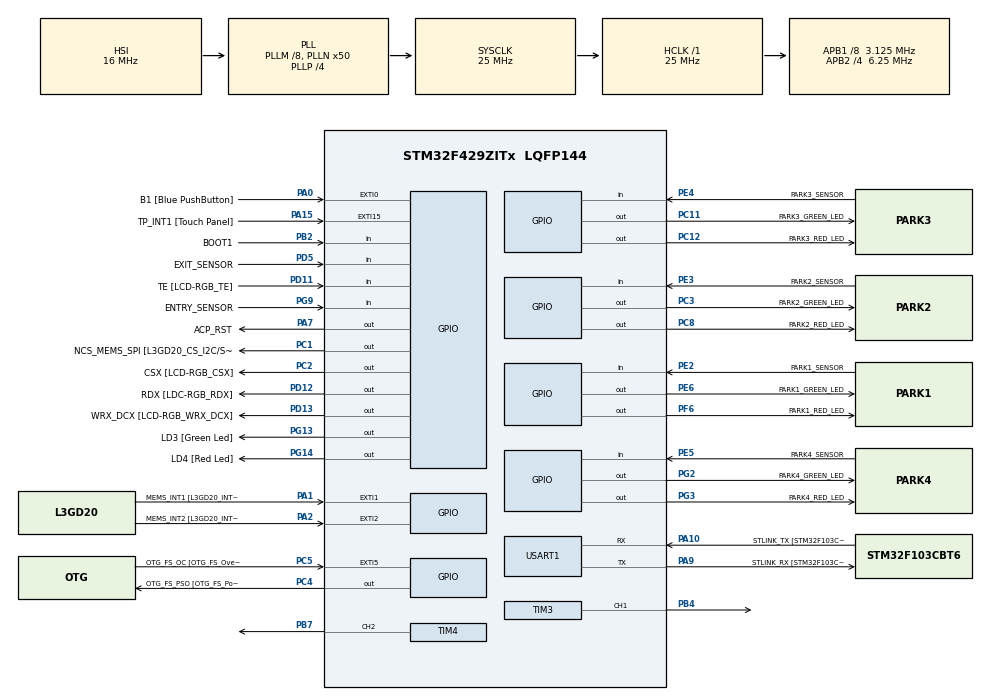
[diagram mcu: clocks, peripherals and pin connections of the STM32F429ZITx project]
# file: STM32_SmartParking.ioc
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Mcu.Family=STM32F4
Mcu.Name=STM32F429ZITx
Mcu.Package=LQFP144
NVIC.PriorityGroup=NVIC_PRIORITYGROUP_0
NVIC.USART1_IRQn=true\:5\:0\:false\:false\:true\:true\:true\:false
PA0/WKUP.GPIO_Label=B1 [Blue PushButton]
PA0/WKUP.GPIO_ModeDefaultEXTI=GPIO_MODE_EVT_RISING
PA0/WKUP.GPIO_PuPd=GPIO_NOPULL
PA0/WKUP.Signal=GPXTI0
PA1.GPIO_Label=MEMS_INT1 [L3GD20_INT1]
PA1.GPIO_ModeDefaultEXTI=GPIO_MODE_EVT_RISING
PA1.GPIO_PuPd=GPIO_NOPULL
PA1.Signal=GPXTI1
PA10.GPIO_Label=STLINK_TX [STM32F103CBT6_PA2]
PA10.Mode=Asynchronous
PA10.Signal=USART1_RX
PA11.GPIO_Label=R4
PA11.GPIO_Mode=GPIO_MODE_AF_PP
PA11.GPIO_PuPd=GPIO_NOPULL
PA11.GPIO_Speed=GPIO_SPEED_FREQ_LOW
PA11.Signal=LTDC_R4
PA12.GPIO_Label=R5
PA12.GPIO_Mode=GPIO_MODE_AF_PP
PA12.GPIO_PuPd=GPIO_NOPULL
PA12.GPIO_Speed=GPIO_SPEED_FREQ_LOW
PA12.Signal=LTDC_R5
PA13.GPIO_Label=SWDIO
PA13.Mode=Serial_Wire
PA13.Signal=SYS_JTMS-SWDIO
PA14.GPIO_Label=SWCLK
PA14.Mode=Serial_Wire
PA14.Signal=SYS_JTCK-SWCLK
PA15.GPIO_Label=TP_INT1 [Touch Panel]
PA15.GPIO_ModeDefaultEXTI=GPIO_MODE_EVT_RISING
PA15.GPIO_PuPd=GPIO_NOPULL
PA15.Signal=GPXTI15
PA2.GPIO_Label=MEMS_INT2 [L3GD20_INT2]
PA2.GPIO_ModeDefaultEXTI=GPIO_MODE_EVT_RISING
PA2.GPIO_PuPd=GPIO_NOPULL
PA2.Signal=GPXTI2
PA3.GPIO_Label=B5
PA3.GPIO_Mode=GPIO_MODE_AF_PP
PA3.GPIO_PuPd=GPIO_NOPULL
PA3.GPIO_Speed=GPIO_SPEED_FREQ_LOW
PA3.Signal=LTDC_B5
PA4.GPIO_Label=VSYNC
PA4.GPIO_Mode=GPIO_MODE_AF_PP
PA4.GPIO_PuPd=GPIO_NOPULL
PA4.GPIO_Speed=GPIO_SPEED_FREQ_LOW
PA4.Signal=LTDC_VSYNC
PA6.GPIO_Label=G2
PA6.GPIO_Mode=GPIO_MODE_AF_PP
PA6.GPIO_PuPd=GPIO_NOPULL
PA6.GPIO_Speed=GPIO_SPEED_FREQ_LOW
PA6.Signal=LTDC_G2
PA7.GPIO_Label=ACP_RST
PA7.GPIO_Mode=GPIO_MODE_OUTPUT_PP
PA7.GPIO_PuPd=GPIO_NOPULL
PA7.GPIO_Speed=GPIO_SPEED_FREQ_LOW
PA7.Signal=GPIO_Output
PA8.GPIO_Label=I2C3_SCL [ACP/RF_SCL]
PA8.GPIO_Mode=GPIO_MODE_AF_OD
PA8.GPIO_PuPd=GPIO_NOPULL
PA8.GPIO_Speed=GPIO_SPEED_FREQ_LOW
PA8.Signal=I2C3_SCL
PA9.GPIO_Label=STLINK_RX [STM32F103CBT6_PA3]
PA9.Mode=Asynchronous
PA9.Signal=USART1_TX
PA9.Stacked=true
PB0.GPIO_Label=R3
PB0.GPIO_Mode=GPIO_MODE_AF_PP
PB0.GPIO_PuPd=GPIO_NOPULL
PB0.GPIO_Speed=GPIO_SPEED_FREQ_LOW
PB0.Signal=LTDC_R3
PB1.GPIO_Label=R6
PB1.GPIO_Mode=GPIO_MODE_AF_PP
PB1.GPIO_PuPd=GPIO_NOPULL
PB1.GPIO_Speed=GPIO_SPEED_FREQ_LOW
PB1.Signal=LTDC_R6
PB10.GPIO_Label=G4
PB10.GPIO_Mode=GPIO_MODE_AF_PP
PB10.GPIO_PuPd=GPIO_NOPULL
PB10.GPIO_Speed=GPIO_SPEED_FREQ_LOW
PB10.Signal=LTDC_G4
PB11.GPIO_Label=G5
PB11.GPIO_Mode=GPIO_MODE_AF_PP
PB11.GPIO_PuPd=GPIO_NOPULL
PB11.GPIO_Speed=GPIO_SPEED_FREQ_LOW
PB11.Signal=LTDC_G5
PB12.GPIO_Label=OTG_HS_ID
PB12.GPIO_Mode=GPIO_MODE_AF_PP
PB12.GPIO_PuPd=GPIO_NOPULL
PB12.GPIO_Speed=GPIO_SPEED_FREQ_LOW
PB12.Signal=USB_OTG_HS_ID
PB13.GPIO_Label=VBUS_HS
PB13.GPIO_Mode=GPIO_MODE_INPUT
PB13.GPIO_PuPd=GPIO_NOPULL
PB13.Signal=USB_OTG_HS_VBUS
PB14.GPIO_Label=OTG_HS_DM
PB14.GPIO_Mode=GPIO_MODE_AF_PP
PB14.GPIO_PuPd=GPIO_NOPULL
PB14.GPIO_Speed=GPIO_SPEED_FREQ_LOW
PB14.Signal=USB_OTG_HS_DM
PB15.GPIO_Label=OTG_HS_DP
PB15.GPIO_Mode=GPIO_MODE_AF_PP
PB15.GPIO_PuPd=GPIO_NOPULL
PB15.GPIO_Speed=GPIO_SPEED_FREQ_LOW
PB15.Signal=USB_OTG_HS_DP
PB2/BOOT1.GPIO_Label=BOOT1
PB2/BOOT1.GPIO_Mode=GPIO_MODE_INPUT
PB2/BOOT1.GPIO_PuPd=GPIO_NOPULL
PB2/BOOT1.Signal=GPIO_Input
PB4.Signal=S_TIM3_CH1
PB5.GPIO_Label=SDCKE1
PB5.GPIO_Mode=GPIO_MODE_AF_PP
PB5.GPIO_PuPd=GPIO_NOPULL
PB5.GPIO_Speed=GPIO_SPEED_FREQ_VERY_HIGH
PB5.Signal=FMC_SDCKE1
PB6.GPIO_Label=SDNE1 [SDRAM_CS]
PB6.GPIO_Mode=GPIO_MODE_AF_PP
PB6.GPIO_PuPd=GPIO_NOPULL
PB6.GPIO_Speed=GPIO_SPEED_FREQ_VERY_HIGH
PB6.Signal=FMC_SDNE1
PB7.Signal=S_TIM4_CH2
PB8.GPIO_Label=B6
PB8.GPIO_Mode=GPIO_MODE_AF_PP
PB8.GPIO_PuPd=GPIO_NOPULL
PB8.GPIO_Speed=GPIO_SPEED_FREQ_LOW
PB8.Signal=LTDC_B6
PB9.GPIO_Label=B7
PB9.GPIO_Mode=GPIO_MODE_AF_PP
PB9.GPIO_PuPd=GPIO_NOPULL
PB9.GPIO_Speed=GPIO_SPEED_FREQ_LOW
PB9.Signal=LTDC_B7
PC0.GPIO_Label=SDNWE
PC0.GPIO_Mode=GPIO_MODE_AF_PP
PC0.GPIO_PuPd=GPIO_NOPULL
PC0.GPIO_Speed=GPIO_SPEED_FREQ_VERY_HIGH
PC0.Signal=FMC_SDNWE
PC1.GPIO_Label=NCS_MEMS_SPI [L3GD20_CS_I2C/SPI]
PC1.GPIO_Mode=GPIO_MODE_OUTPUT_PP
PC1.GPIO_PuPd=GPIO_NOPULL
PC1.GPIO_Speed=GPIO_SPEED_FREQ_LOW
PC1.Signal=GPIO_Output
PC10.GPIO_Label=R2
PC10.GPIO_Mode=GPIO_MODE_AF_PP
PC10.GPIO_PuPd=GPIO_NOPULL
PC10.GPIO_Speed=GPIO_SPEED_FREQ_LOW
PC10.Signal=LTDC_R2
PC11.GPIO_Label=PARK3_GREEN_LED
PC11.Signal=GPIO_Output
PC12.GPIO_Label=PARK3_RED_LED
PC12.Signal=GPIO_Output
PC14/OSC32_IN.GPIO_Label=PC14-OSC32_IN
PC14/OSC32_IN.Signal=RCC_OSC32_IN
PC15/OSC32_OUT.GPIO_Label=PC15-OSC32_OUT
PC15/OSC32_OUT.Signal=RCC_OSC32_OUT
PC2.GPIO_Label=CSX [LCD-RGB_CSX]
PC2.GPIO_Mode=GPIO_MODE_OUTPUT_PP
PC2.GPIO_PuPd=GPIO_NOPULL
PC2.GPIO_Speed=GPIO_SPEED_FREQ_LOW
PC2.Signal=GPIO_Output
PC3.GPIO_Label=PARK2_GREEN_LED
PC3.Signal=GPIO_Output
PC4.GPIO_Label=OTG_FS_PSO [OTG_FS_PowerSwitchOn]
PC4.GPIO_Mode=GPIO_MODE_OUTPUT_PP
PC4.GPIO_PuPd=GPIO_NOPULL
PC4.GPIO_Speed=GPIO_SPEED_FREQ_LOW
PC4.Signal=GPIO_Output
PC5.GPIO_Label=OTG_FS_OC [OTG_FS_OverCurrent]
PC5.GPIO_ModeDefaultEXTI=GPIO_MODE_EVT_RISING
PC5.Signal=GPXTI5
PC6.GPIO_Label=HSYNC
PC6.GPIO_Mode=GPIO_MODE_AF_PP
PC6.GPIO_PuPd=GPIO_NOPULL
PC6.GPIO_Speed=GPIO_SPEED_FREQ_LOW
PC6.Signal=LTDC_HSYNC
PC7.GPIO_Label=G6
PC7.GPIO_Mode=GPIO_MODE_AF_PP
PC7.GPIO_PuPd=GPIO_NOPULL
PC7.GPIO_Speed=GPIO_SPEED_FREQ_LOW
PC7.Signal=LTDC_G6
PC8.GPIO_Label=PARK2_RED_LED
PC8.Signal=GPIO_Output
PC9.GPIO_Label=I2C3_SDA [ACP/RF_SDA]
PC9.GPIO_Mode=GPIO_MODE_AF_OD
PC9.GPIO_PuPd=GPIO_NOPULL
PC9.GPIO_Speed=GPIO_SPEED_FREQ_LOW
PC9.Signal=I2C3_SDA
PD0.GPIO_Label=D2
PD0.GPIO_Mode=GPIO_MODE_AF_PP
PD0.GPIO_PuPd=GPIO_NOPULL
PD0.GPIO_Speed=GPIO_SPEED_FREQ_VERY_HIGH
PD0.Signal=FMC_D2_DA2
PD1.GPIO_Label=D3
PD1.GPIO_Mode=GPIO_MODE_AF_PP
PD1.GPIO_PuPd=GPIO_NOPULL
PD1.GPIO_Speed=GPIO_SPEED_FREQ_VERY_HIGH
PD1.Signal=FMC_D3_DA3
PD10.GPIO_Label=D15
PD10.GPIO_Mode=GPIO_MODE_AF_PP
PD10.GPIO_PuPd=GPIO_NOPULL
PD10.GPIO_Speed=GPIO_SPEED_FREQ_VERY_HIGH
PD10.Signal=FMC_D15_DA15
PD11.GPIO_Label=TE [LCD-RGB_TE]
PD11.GPIO_Mode=GPIO_MODE_INPUT
PD11.GPIO_PuPd=GPIO_NOPULL
PD11.Signal=GPIO_Input
PD12.GPIO_Label=RDX [LDC-RGB_RDX]
PD12.GPIO_Mode=GPIO_MODE_OUTPUT_PP
PD12.GPIO_PuPd=GPIO_NOPULL
PD12.GPIO_Speed=GPIO_SPEED_FREQ_LOW
PD12.Signal=GPIO_Output
PD13.GPIO_Label=WRX_DCX [LCD-RGB_WRX_DCX]
PD13.GPIO_Mode=GPIO_MODE_OUTPUT_PP
PD13.GPIO_PuPd=GPIO_NOPULL
PD13.GPIO_Speed=GPIO_SPEED_FREQ_LOW
PD13.Signal=GPIO_Output
PD14.GPIO_Label=D0
PD14.GPIO_Mode=GPIO_MODE_AF_PP
PD14.GPIO_PuPd=GPIO_NOPULL
PD14.GPIO_Speed=GPIO_SPEED_FREQ_VERY_HIGH
PD14.Signal=FMC_D0_DA0
PD15.GPIO_Label=D1
PD15.GPIO_Mode=GPIO_MODE_AF_PP
PD15.GPIO_PuPd=GPIO_NOPULL
PD15.GPIO_Speed=GPIO_SPEED_FREQ_VERY_HIGH
PD15.Signal=FMC_D1_DA1
PD3.GPIO_Label=G7
PD3.GPIO_Mode=GPIO_MODE_AF_PP
PD3.GPIO_PuPd=GPIO_NOPULL
PD3.GPIO_Speed=GPIO_SPEED_FREQ_LOW
PD3.Signal=LTDC_G7
PD5.GPIO_Label=EXIT_SENSOR
PD5.Signal=GPIO_Input
PD6.GPIO_Label=B2
PD6.GPIO_Mode=GPIO_MODE_AF_PP
PD6.GPIO_PuPd=GPIO_NOPULL
PD6.GPIO_Speed=GPIO_SPEED_FREQ_LOW
PD6.Signal=LTDC_B2
PD8.GPIO_Label=D13
PD8.GPIO_Mode=GPIO_MODE_AF_PP
PD8.GPIO_PuPd=GPIO_NOPULL
PD8.GPIO_Speed=GPIO_SPEED_FREQ_VERY_HIGH
PD8.Signal=FMC_D13_DA13
PD9.GPIO_Label=D14
PD9.GPIO_Mode=GPIO_MODE_AF_PP
PD9.GPIO_PuPd=GPIO_NOPULL
PD9.GPIO_Speed=GPIO_SPEED_FREQ_VERY_HIGH
PD9.Signal=FMC_D14_DA14
PE0.GPIO_Label=NBL0 [SDRAM_LDQM]
PE0.GPIO_Mode=GPIO_MODE_AF_PP
PE0.GPIO_PuPd=GPIO_NOPULL
PE0.GPIO_Speed=GPIO_SPEED_FREQ_VERY_HIGH
PE0.Signal=FMC_NBL0
PE1.GPIO_Label=NBL1 [SDRAM_UDQM]
PE1.GPIO_Mode=GPIO_MODE_AF_PP
PE1.GPIO_PuPd=GPIO_NOPULL
PE1.GPIO_Speed=GPIO_SPEED_FREQ_VERY_HIGH
PE1.Signal=FMC_NBL1
PE10.GPIO_Label=D7
PE10.GPIO_Mode=GPIO_MODE_AF_PP
PE10.GPIO_PuPd=GPIO_NOPULL
PE10.GPIO_Speed=GPIO_SPEED_FREQ_VERY_HIGH
PE10.Signal=FMC_D7_DA7
PE11.GPIO_Label=D8
PE11.GPIO_Mode=GPIO_MODE_AF_PP
PE11.GPIO_PuPd=GPIO_NOPULL
PE11.GPIO_Speed=GPIO_SPEED_FREQ_VERY_HIGH
PE11.Signal=FMC_D8_DA8
PE12.GPIO_Label=D9
PE12.GPIO_Mode=GPIO_MODE_AF_PP
PE12.GPIO_PuPd=GPIO_NOPULL
PE12.GPIO_Speed=GPIO_SPEED_FREQ_VERY_HIGH
PE12.Signal=FMC_D9_DA9
PE13.GPIO_Label=D10
PE13.GPIO_Mode=GPIO_MODE_AF_PP
PE13.GPIO_PuPd=GPIO_NOPULL
PE13.GPIO_Speed=GPIO_SPEED_FREQ_VERY_HIGH
PE13.Signal=FMC_D10_DA10
PE14.GPIO_Label=D11
PE14.GPIO_Mode=GPIO_MODE_AF_PP
PE14.GPIO_PuPd=GPIO_NOPULL
PE14.GPIO_Speed=GPIO_SPEED_FREQ_VERY_HIGH
PE14.Signal=FMC_D11_DA11
PE15.GPIO_Label=D12
PE15.GPIO_Mode=GPIO_MODE_AF_PP
PE15.GPIO_PuPd=GPIO_NOPULL
PE15.GPIO_Speed=GPIO_SPEED_FREQ_VERY_HIGH
PE15.Signal=FMC_D12_DA12
PE2.GPIO_Label=PARK1_SENSOR
PE2.Signal=GPIO_Input
PE3.GPIO_Label=PARK2_SENSOR
PE3.Signal=GPIO_Input
PE4.GPIO_Label=PARK3_SENSOR
PE4.Signal=GPIO_Input
PE5.GPIO_Label=PARK4_SENSOR
PE5.Signal=GPIO_Input
PE6.GPIO_Label=PARK1_GREEN_LED
PE6.Signal=GPIO_Output
PE7.GPIO_Label=D4
PE7.GPIO_Mode=GPIO_MODE_AF_PP
PE7.GPIO_PuPd=GPIO_NOPULL
PE7.GPIO_Speed=GPIO_SPEED_FREQ_VERY_HIGH
PE7.Signal=FMC_D4_DA4
PE8.GPIO_Label=D5
PE8.GPIO_Mode=GPIO_MODE_AF_PP
PE8.GPIO_PuPd=GPIO_NOPULL
PE8.GPIO_Speed=GPIO_SPEED_FREQ_VERY_HIGH
PE8.Signal=FMC_D5_DA5
PE9.GPIO_Label=D6
PE9.GPIO_Mode=GPIO_MODE_AF_PP
PE9.GPIO_PuPd=GPIO_NOPULL
PE9.GPIO_Speed=GPIO_SPEED_FREQ_VERY_HIGH
PE9.Signal=FMC_D6_DA6
PF0.GPIO_Label=A0
PF0.GPIO_Mode=GPIO_MODE_AF_PP
PF0.GPIO_PuPd=GPIO_NOPULL
PF0.GPIO_Speed=GPIO_SPEED_FREQ_VERY_HIGH
PF0.Signal=FMC_A0
PF1.GPIO_Label=A1
PF1.GPIO_Mode=GPIO_MODE_AF_PP
PF1.GPIO_PuPd=GPIO_NOPULL
PF1.GPIO_Speed=GPIO_SPEED_FREQ_VERY_HIGH
PF1.Signal=FMC_A1
PF10.GPIO_Label=ENABLE [LCD-RGB_ENABLE]
PF10.GPIO_Mode=GPIO_MODE_AF_PP
PF10.GPIO_PuPd=GPIO_NOPULL
PF10.GPIO_Speed=GPIO_SPEED_FREQ_LOW
PF10.Signal=LTDC_DE
PF11.GPIO_Label=SDNRAS
PF11.GPIO_Mode=GPIO_MODE_AF_PP
PF11.GPIO_PuPd=GPIO_NOPULL
PF11.GPIO_Speed=GPIO_SPEED_FREQ_VERY_HIGH
PF11.Signal=FMC_SDNRAS
PF12.GPIO_Label=A6
PF12.GPIO_Mode=GPIO_MODE_AF_PP
PF12.GPIO_PuPd=GPIO_NOPULL
PF12.GPIO_Speed=GPIO_SPEED_FREQ_VERY_HIGH
PF12.Signal=FMC_A6
PF13.GPIO_Label=A7
PF13.GPIO_Mode=GPIO_MODE_AF_PP
PF13.GPIO_PuPd=GPIO_NOPULL
PF13.GPIO_Speed=GPIO_SPEED_FREQ_VERY_HIGH
PF13.Signal=FMC_A7
PF14.GPIO_Label=A8
PF14.GPIO_Mode=GPIO_MODE_AF_PP
PF14.GPIO_PuPd=GPIO_NOPULL
PF14.GPIO_Speed=GPIO_SPEED_FREQ_VERY_HIGH
PF14.Signal=FMC_A8
PF15.GPIO_Label=A9
PF15.GPIO_Mode=GPIO_MODE_AF_PP
PF15.GPIO_PuPd=GPIO_NOPULL
PF15.GPIO_Speed=GPIO_SPEED_FREQ_VERY_HIGH
PF15.Signal=FMC_A9
PF2.GPIO_Label=A2
PF2.GPIO_Mode=GPIO_MODE_AF_PP
PF2.GPIO_PuPd=GPIO_NOPULL
PF2.GPIO_Speed=GPIO_SPEED_FREQ_VERY_HIGH
PF2.Signal=FMC_A2
PF3.GPIO_Label=A3
PF3.GPIO_Mode=GPIO_MODE_AF_PP
PF3.GPIO_PuPd=GPIO_NOPULL
PF3.GPIO_Speed=GPIO_SPEED_FREQ_VERY_HIGH
PF3.Signal=FMC_A3
PF4.GPIO_Label=A4
PF4.GPIO_Mode=GPIO_MODE_AF_PP
PF4.GPIO_PuPd=GPIO_NOPULL
PF4.GPIO_Speed=GPIO_SPEED_FREQ_VERY_HIGH
PF4.Signal=FMC_A4
PF5.GPIO_Label=A5
PF5.GPIO_Mode=GPIO_MODE_AF_PP
PF5.GPIO_PuPd=GPIO_NOPULL
PF5.GPIO_Speed=GPIO_SPEED_FREQ_VERY_HIGH
PF5.Signal=FMC_A5
PF6.GPIO_Label=PARK1_RED_LED
PF6.GPIO_ModeDefaultOutputPP=GPIO_MODE_OUTPUT_PP
PF6.GPIO_PuPd=GPIO_NOPULL
PF6.Signal=GPIO_Output
PF7.GPIO_Label=SPI5_SCK [L3GD20_SCL/SPC]
PF7.GPIO_Mode=GPIO_MODE_AF_PP
PF7.GPIO_PuPd=GPIO_NOPULL
PF7.GPIO_Speed=GPIO_SPEED_FREQ_LOW
PF7.Signal=SPI5_SCK
PF8.GPIO_Label=SPI5_MISO [L3GD20_SDO]
PF8.GPIO_Mode=GPIO_MODE_AF_PP
PF8.GPIO_PuPd=GPIO_NOPULL
PF8.GPIO_Speed=GPIO_SPEED_FREQ_LOW
PF8.Signal=SPI5_MISO
PF9.GPIO_Label=SPI5_MOSI [L3GD20_SDA/SDI/SDO]
PF9.GPIO_Mode=GPIO_MODE_AF_PP
PF9.GPIO_PuPd=GPIO_NOPULL
PF9.GPIO_Speed=GPIO_SPEED_FREQ_LOW
PF9.Signal=SPI5_MOSI
PG0.GPIO_Label=A10
PG0.GPIO_Mode=GPIO_MODE_AF_PP
PG0.GPIO_PuPd=GPIO_NOPULL
PG0.GPIO_Speed=GPIO_SPEED_FREQ_VERY_HIGH
PG0.Signal=FMC_A10
PG1.GPIO_Label=A11
PG1.GPIO_Mode=GPIO_MODE_AF_PP
PG1.GPIO_PuPd=GPIO_NOPULL
PG1.GPIO_Speed=GPIO_SPEED_FREQ_VERY_HIGH
PG1.Signal=FMC_A11
PG10.GPIO_Label=G3
PG10.GPIO_Mode=GPIO_MODE_AF_PP
PG10.GPIO_PuPd=GPIO_NOPULL
PG10.GPIO_Speed=GPIO_SPEED_FREQ_LOW
PG10.Signal=LTDC_G3
PG11.GPIO_Label=B3
PG11.GPIO_Mode=GPIO_MODE_AF_PP
PG11.GPIO_PuPd=GPIO_NOPULL
PG11.GPIO_Speed=GPIO_SPEED_FREQ_LOW
PG11.Signal=LTDC_B3
PG12.GPIO_Label=B4
PG12.GPIO_Mode=GPIO_MODE_AF_PP
PG12.GPIO_PuPd=GPIO_NOPULL
PG12.GPIO_Speed=GPIO_SPEED_FREQ_LOW
PG12.Signal=LTDC_B4
PG13.GPIO_Label=LD3 [Green Led]
PG13.GPIO_Mode=GPIO_MODE_OUTPUT_PP
PG13.GPIO_PuPd=GPIO_NOPULL
PG13.GPIO_Speed=GPIO_SPEED_FREQ_LOW
PG13.Signal=GPIO_Output
PG14.GPIO_Label=LD4 [Red Led]
PG14.GPIO_Mode=GPIO_MODE_OUTPUT_PP
PG14.GPIO_PuPd=GPIO_NOPULL
PG14.GPIO_Speed=GPIO_SPEED_FREQ_LOW
PG14.Signal=GPIO_Output
PG15.GPIO_Label=SDNCAS
PG15.GPIO_Mode=GPIO_MODE_AF_PP
PG15.GPIO_PuPd=GPIO_NOPULL
PG15.GPIO_Speed=GPIO_SPEED_FREQ_VERY_HIGH
PG15.Signal=FMC_SDNCAS
PG2.GPIO_Label=PARK4_GREEN_LED
PG2.Signal=GPIO_Output
PG3.GPIO_Label=PARK4_RED_LED
PG3.Signal=GPIO_Output
PG4.GPIO_Label=BA0
PG4.GPIO_Mode=GPIO_MODE_AF_PP
PG4.GPIO_PuPd=GPIO_NOPULL
PG4.GPIO_Speed=GPIO_SPEED_FREQ_VERY_HIGH
PG4.Signal=FMC_A14_BA0
PG5.GPIO_Label=BA1
PG5.GPIO_Mode=GPIO_MODE_AF_PP
PG5.GPIO_PuPd=GPIO_NOPULL
PG5.GPIO_Speed=GPIO_SPEED_FREQ_VERY_HIGH
PG5.Signal=FMC_A15_BA1
PG6.GPIO_Label=R7
PG6.GPIO_Mode=GPIO_MODE_AF_PP
PG6.GPIO_PuPd=GPIO_NOPULL
PG6.GPIO_Speed=GPIO_SPEED_FREQ_LOW
PG6.Signal=LTDC_R7
PG7.GPIO_Label=DOTCLK [LCT-RGB_DOTCLK]
PG7.GPIO_Mode=GPIO_MODE_AF_PP
PG7.GPIO_PuPd=GPIO_NOPULL
PG7.GPIO_Speed=GPIO_SPEED_FREQ_LOW
PG7.Signal=LTDC_CLK
PG8.GPIO_Label=SDCLK
PG8.GPIO_Mode=GPIO_MODE_AF_PP
PG8.GPIO_PuPd=GPIO_NOPULL
PG8.GPIO_Speed=GPIO_SPEED_FREQ_VERY_HIGH
PG8.Signal=FMC_SDCLK
PG9.GPIO_Label=ENTRY_SENSOR
PG9.Signal=GPIO_Input
PH0/OSC_IN.GPIO_Label=PH0-OSC_IN
PH0/OSC_IN.Signal=RCC_OSC_IN
PH1/OSC_OUT.GPIO_Label=PH1-OSC_OUT
PH1/OSC_OUT.Signal=RCC_OSC_OUT
ProjectManager.HeapSize=0x200
ProjectManager.StackSize=0x400
ProjectManager.TargetToolchain=STM32CubeIDE
RCC.48MHZClocksFreq_Value=14285714.285714285
RCC.AHBFreq_Value=25000000
RCC.APB1CLKDivider=RCC_HCLK_DIV8
RCC.APB1Freq_Value=3125000
RCC.APB1TimFreq_Value=6250000
RCC.APB2CLKDivider=RCC_HCLK_DIV4
RCC.APB2Freq_Value=6250000
RCC.APB2TimFreq_Value=12500000
RCC.CortexFreq_Value=25000000
RCC.HCLKFreq_Value=25000000
RCC.HSE_VALUE=8000000
RCC.HSI_VALUE=16000000
RCC.LSE_VALUE=32768
RCC.PLLM=8
RCC.PLLN=50
RCC.PLLP=RCC_PLLP_DIV4
RCC.PLLQ=7
RCC.SYSCLKFreq_VALUE=25000000
RCC.SYSCLKSource=RCC_SYSCLKSOURCE_PLLCLK
RCC.VCOOutputFreq_Value=100000000
SH.FMC_A0.0=FMC_A0
SH.FMC_A1.0=FMC_A1
SH.FMC_A10.0=FMC_A10
SH.FMC_A11.0=FMC_A11
SH.FMC_A14_BA0.0=FMC_BA0
SH.FMC_A15_BA1.0=FMC_BA1
SH.FMC_A2.0=FMC_A2
SH.FMC_A3.0=FMC_A3
SH.FMC_A4.0=FMC_A4
SH.FMC_A5.0=FMC_A5
SH.FMC_A6.0=FMC_A6
SH.FMC_A7.0=FMC_A7
SH.FMC_A8.0=FMC_A8
SH.FMC_A9.0=FMC_A9
SH.FMC_D0_DA0.0=FMC_D0
SH.FMC_D10_DA10.0=FMC_D10
SH.FMC_D11_DA11.0=FMC_D11
SH.FMC_D12_DA12.0=FMC_D12
SH.FMC_D13_DA13.0=FMC_D13
SH.FMC_D14_DA14.0=FMC_D14
SH.FMC_D15_DA15.0=FMC_D15
SH.FMC_D1_DA1.0=FMC_D1
SH.FMC_D2_DA2.0=FMC_D2
SH.FMC_D3_DA3.0=FMC_D3
SH.FMC_D4_DA4.0=FMC_D4
SH.FMC_D5_DA5.0=FMC_D5
SH.FMC_D8_DA8.0=FMC_D8
SH.FMC_D9_DA9.0=FMC_D9
SH.FMC_D6_DA6.0=FMC_D6
SH.FMC_D7_DA7.0=FMC_D7
SH.FMC_NBL0.0=FMC_NBL0
SH.FMC_NBL1.0=FMC_NBL1
SH.FMC_SDCLK.0=FMC_SDCLK
SH.FMC_SDNCAS.0=FMC_SDNCAS
SH.FMC_SDNRAS.0=FMC_SDNRAS
SH.FMC_SDNWE.0=FMC_SDNWE
SH.S_TIM3_CH1.0=TIM3_CH1,PWM Generation1 CH1
SH.S_TIM4_CH2.0=TIM4_CH2,PWM Generation2 CH2
TIM3.Channel-PWM\ Generation1\ CH1=TIM_CHANNEL_1
TIM3.Period=24999
TIM3.Prescaler=4
TIM3.Pulse-PWM\ Generation1\ CH1=1250
TIM4.Channel-PWM\ Generation2\ CH2=TIM_CHANNEL_2
TIM4.Period=24999
TIM4.Prescaler=4
TIM4.Pulse-PWM\ Generation2\ CH2=1250
USART1.VirtualMode=VM_ASYNC
VP_TIM3_VS_ClockSourceINT.Mode=Internal
VP_TIM4_VS_ClockSourceINT.Mode=Internal
board=STM32F429I-DISC1

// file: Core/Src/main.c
/* USER CODE BEGIN Header */
/**
  ******************************************************************************
  * @file           : main.c
  * @brief          : Main program body
  ******************************************************************************
  * @attention
  *
  * Copyright (c) 2026 STMicroelectronics.
  * All rights reserved.
  *
  * This software is licensed under terms that can be found in the LICENSE file
  * in the root directory of this software component.
  * If no LICENSE file comes with this software, it is provided AS-IS.
  *
  ******************************************************************************
  */
/* USER CODE END Header */
#include "main.h"

/* USER CODE BEGIN Includes */
#include "hybrid_parking.h"
#include "shared_gate.h"
#include "modbus_slave.h"
#include "modbus_rtu_rx.h"
#include "buzzer.h"
#ifndef PARKING_NODE_ID
#define PARKING_NODE_ID 1U
#endif
/* USER CODE END Includes */

TIM_HandleTypeDef htim3;
TIM_HandleTypeDef htim4;

UART_HandleTypeDef huart1;

/* USER CODE BEGIN PV */
static HybridParking parking;
static SharedGate gate;
static ModbusSlave modbus;
static Buzzer buzzer;
static uint8_t rx_byte;
static ModbusRtuRx rtu_rx;
static uint8_t tx_frame[MODBUS_MAX_ADU];
static volatile bool tx_busy;
static uint16_t last_buzzer_sequence;
/* USER CODE END PV */

void SystemClock_Config(void);
static void MX_GPIO_Init(void);
static void MX_TIM3_Init(void);
static void MX_TIM4_Init(void);
static void MX_USART1_UART_Init(void);

/* USER CODE BEGIN 0 */
void HAL_UART_RxCpltCallback(UART_HandleTypeDef *huart)
{
    if (huart != &huart1) return;
    ModbusRtuRx_Push(&rtu_rx, rx_byte, DWT->CYCCNT);
    (void)HAL_UART_Receive_IT(&huart1, &rx_byte, 1U);
}
void HAL_UART_TxCpltCallback(UART_HandleTypeDef *huart)
{
    if (huart == &huart1) tx_busy = false;
}
void HAL_UART_ErrorCallback(UART_HandleTypeDef *huart)
{
    if (huart == &huart1) {
        ModbusRtuRx_Abort(&rtu_rx, DWT->CYCCNT);
        (void)HAL_UART_Receive_IT(&huart1, &rx_byte, 1U);
    }
}
/* USER CODE END 0 */

int main(void)
{

  /* MCU Configuration--------------------------------------------------------*/

  /* Reset of all peripherals, Initializes the Flash interface and the Systick. */
  HAL_Init();

  /* Configure the system clock */
  SystemClock_Config();

  /* Initialize all configured peripherals */
  MX_GPIO_Init();
  MX_TIM3_Init();
  MX_TIM4_Init();
  MX_USART1_UART_Init();
  /* USER CODE BEGIN 2 */
  HybridParking_Init(&parking, PARKING_NODE_ID == 1U);
  SharedGate_Init(&gate, GATE_SIMULATION);
  ModbusSlave_Init(&modbus, PARKING_NODE_ID, &parking,
                   PARKING_NODE_ID == 1U ? &gate : NULL);
  Buzzer_Init(&buzzer, false);
  /* Cortex-M4 cycle counter gives sub-microsecond RTU gap measurements.
   * The 1 ms HAL tick cannot distinguish valid 1.75 ms inter-frame gaps. */
  CoreDebug->DEMCR |= CoreDebug_DEMCR_TRCENA_Msk;
  DWT->CYCCNT = 0U;
  DWT->CTRL |= DWT_CTRL_CYCCNTENA_Msk;
  ModbusRtuRx_Init(&rtu_rx, SystemCoreClock);
  (void)HAL_UART_Receive_IT(&huart1, &rx_byte, 1U);
/* USER CODE END 2 */

  /* Infinite loop */
  while (1)
  {

    /* USER CODE BEGIN 3 */
    uint32_t now = HAL_GetTick();
    /* The P01 tracking module reports reflected light with a low output. */
    HybridParking_SetPhysical(&parking,
        HAL_GPIO_ReadPin(PARK1_SENSOR_GPIO_Port, PARK1_SENSOR_Pin) == GPIO_PIN_RESET);
    HybridParking_Tick(&parking, now);
    ModbusSlave_Tick(&modbus, now);
    SharedGate_Update(&gate, modbus.simulated_passage, true,
                      gate.mode == GATE_SIMULATION, now);
    for (uint8_t age = gate.event_count; age > 0U; --age) {
        uint16_t sequence;
        GateEvent event;
        if (SharedGate_GetEvent(&gate, (uint8_t)(age - 1U), &sequence, &event) &&
            (uint16_t)(sequence - last_buzzer_sequence) < 0x8000U &&
            sequence != last_buzzer_sequence) {
            Buzzer_OnEvent(&buzzer, event, sequence, now);
            last_buzzer_sequence = sequence;
        }
    }
    Buzzer_Tick(&buzzer, now);
    HAL_GPIO_WritePin(LD3_GPIO_Port, LD3_Pin,
        parking.state[0] == SPACE_OCCUPIED ? GPIO_PIN_SET : GPIO_PIN_RESET);
    HAL_GPIO_WritePin(LD4_GPIO_Port, LD4_Pin,
        gate.state == GATE_CLOSED ? GPIO_PIN_RESET : GPIO_PIN_SET);
    if (!tx_busy) {
        uint8_t request[MODBUS_MAX_ADU];
        uint32_t primask = __get_PRIMASK();
        __disable_irq();
        /* Read the timestamp inside the same critical section as the frame:
         * an ISR must not make last_tick newer than the consumer's timestamp. */
        size_t length = ModbusRtuRx_Pop(&rtu_rx, request, sizeof request, DWT->CYCCNT);
        __set_PRIMASK(primask);
        if (length > 0U) {
            size_t reply = ModbusSlave_Process(&modbus, request, length,
                tx_frame, sizeof tx_frame, now);
            if (reply > 0U) {
                tx_busy = true;
                if (HAL_UART_Transmit_IT(&huart1, tx_frame, (uint16_t)reply) != HAL_OK)
                    tx_busy = false;
            }
        }
    }
  }
/* USER CODE END 3 */
}

void SystemClock_Config(void)
{
  RCC_OscInitTypeDef RCC_OscInitStruct = {0};
  RCC_ClkInitTypeDef RCC_ClkInitStruct = {0};

  /** Configure the main internal regulator output voltage
  */
  __HAL_RCC_PWR_CLK_ENABLE();
  __HAL_PWR_VOLTAGESCALING_CONFIG(PWR_REGULATOR_VOLTAGE_SCALE3);

  /** Initializes the RCC Oscillators according to the specified parameters
  * in the RCC_OscInitTypeDef structure.
  */
  RCC_OscInitStruct.OscillatorType = RCC_OSCILLATORTYPE_HSI;
  RCC_OscInitStruct.HSIState = RCC_HSI_ON;
  RCC_OscInitStruct.HSICalibrationValue = RCC_HSICALIBRATION_DEFAULT;
  RCC_OscInitStruct.PLL.PLLState = RCC_PLL_ON;
  RCC_OscInitStruct.PLL.PLLSource = RCC_PLLSOURCE_HSI;
  RCC_OscInitStruct.PLL.PLLM = 8;
  RCC_OscInitStruct.PLL.PLLN = 50;
  RCC_OscInitStruct.PLL.PLLP = RCC_PLLP_DIV4;
  RCC_OscInitStruct.PLL.PLLQ = 7;
  if (HAL_RCC_OscConfig(&RCC_OscInitStruct) != HAL_OK)
  {
    Error_Handler();
  }

  /** Initializes the CPU, AHB and APB buses clocks
  */
  RCC_ClkInitStruct.ClockType = RCC_CLOCKTYPE_HCLK|RCC_CLOCKTYPE_SYSCLK
                              |RCC_CLOCKTYPE_PCLK1|RCC_CLOCKTYPE_PCLK2;
  RCC_ClkInitStruct.SYSCLKSource = RCC_SYSCLKSOURCE_PLLCLK;
  RCC_ClkInitStruct.AHBCLKDivider = RCC_SYSCLK_DIV1;
  RCC_ClkInitStruct.APB1CLKDivider = RCC_HCLK_DIV8;
  RCC_ClkInitStruct.APB2CLKDivider = RCC_HCLK_DIV4;

  if (HAL_RCC_ClockConfig(&RCC_ClkInitStruct, FLASH_LATENCY_0) != HAL_OK)
  {
    Error_Handler();
  }
}

static void MX_TIM3_Init(void)
{

  TIM_ClockConfigTypeDef sClockSourceConfig = {0};
  TIM_MasterConfigTypeDef sMasterConfig = {0};
  TIM_OC_InitTypeDef sConfigOC = {0};

  htim3.Instance = TIM3;
  htim3.Init.Prescaler = 4;
  htim3.Init.CounterMode = TIM_COUNTERMODE_UP;
  htim3.Init.Period = 24999;
  htim3.Init.ClockDivision = TIM_CLOCKDIVISION_DIV1;
  htim3.Init.AutoReloadPreload = TIM_AUTORELOAD_PRELOAD_DISABLE;
  if (HAL_TIM_Base_Init(&htim3) != HAL_OK)
  {
    Error_Handler();
  }
  sClockSourceConfig.ClockSource = TIM_CLOCKSOURCE_INTERNAL;
  if (HAL_TIM_ConfigClockSource(&htim3, &sClockSourceConfig) != HAL_OK)
  {
    Error_Handler();
  }
  if (HAL_TIM_PWM_Init(&htim3) != HAL_OK)
  {
    Error_Handler();
  }
  sMasterConfig.MasterOutputTrigger = TIM_TRGO_RESET;
  sMasterConfig.MasterSlaveMode = TIM_MASTERSLAVEMODE_DISABLE;
  if (HAL_TIMEx_MasterConfigSynchronization(&htim3, &sMasterConfig) != HAL_OK)
  {
    Error_Handler();
  }
  sConfigOC.OCMode = TIM_OCMODE_PWM1;
  sConfigOC.Pulse = 1250;
  sConfigOC.OCPolarity = TIM_OCPOLARITY_HIGH;
  sConfigOC.OCFastMode = TIM_OCFAST_DISABLE;
  if (HAL_TIM_PWM_ConfigChannel(&htim3, &sConfigOC, TIM_CHANNEL_1) != HAL_OK)
  {
    Error_Handler();
  }
  HAL_TIM_MspPostInit(&htim3);

}

static void MX_TIM4_Init(void)
{

  TIM_ClockConfigTypeDef sClockSourceConfig = {0};
  TIM_MasterConfigTypeDef sMasterConfig = {0};
  TIM_OC_InitTypeDef sConfigOC = {0};

  htim4.Instance = TIM4;
  htim4.Init.Prescaler = 4;
  htim4.Init.CounterMode = TIM_COUNTERMODE_UP;
  htim4.Init.Period = 24999;
  htim4.Init.ClockDivision = TIM_CLOCKDIVISION_DIV1;
  htim4.Init.AutoReloadPreload = TIM_AUTORELOAD_PRELOAD_DISABLE;
  if (HAL_TIM_Base_Init(&htim4) != HAL_OK)
  {
    Error_Handler();
  }
  sClockSourceConfig.ClockSource = TIM_CLOCKSOURCE_INTERNAL;
  if (HAL_TIM_ConfigClockSource(&htim4, &sClockSourceConfig) != HAL_OK)
  {
    Error_Handler();
  }
  if (HAL_TIM_PWM_Init(&htim4) != HAL_OK)
  {
    Error_Handler();
  }
  sMasterConfig.MasterOutputTrigger = TIM_TRGO_RESET;
  sMasterConfig.MasterSlaveMode = TIM_MASTERSLAVEMODE_DISABLE;
  if (HAL_TIMEx_MasterConfigSynchronization(&htim4, &sMasterConfig) != HAL_OK)
  {
    Error_Handler();
  }
  sConfigOC.OCMode = TIM_OCMODE_PWM1;
  sConfigOC.Pulse = 1250;
  sConfigOC.OCPolarity = TIM_OCPOLARITY_HIGH;
  sConfigOC.OCFastMode = TIM_OCFAST_DISABLE;
  if (HAL_TIM_PWM_ConfigChannel(&htim4, &sConfigOC, TIM_CHANNEL_2) != HAL_OK)
  {
    Error_Handler();
  }
  HAL_TIM_MspPostInit(&htim4);

}

static void MX_USART1_UART_Init(void)
{

  huart1.Instance = USART1;
  huart1.Init.BaudRate = 115200;
  huart1.Init.WordLength = UART_WORDLENGTH_8B;
  huart1.Init.StopBits = UART_STOPBITS_1;
  huart1.Init.Parity = UART_PARITY_NONE;
  huart1.Init.Mode = UART_MODE_TX_RX;
  huart1.Init.HwFlowCtl = UART_HWCONTROL_NONE;
  huart1.Init.OverSampling = UART_OVERSAMPLING_16;
  if (HAL_UART_Init(&huart1) != HAL_OK)
  {
    Error_Handler();
  }

}

static void MX_GPIO_Init(void)
{
  GPIO_InitTypeDef GPIO_InitStruct = {0};

  /* GPIO Ports Clock Enable */
  __HAL_RCC_GPIOE_CLK_ENABLE();
  __HAL_RCC_GPIOC_CLK_ENABLE();
  __HAL_RCC_GPIOF_CLK_ENABLE();
  __HAL_RCC_GPIOH_CLK_ENABLE();
  __HAL_RCC_GPIOA_CLK_ENABLE();
  __HAL_RCC_GPIOB_CLK_ENABLE();
  __HAL_RCC_GPIOG_CLK_ENABLE();
  __HAL_RCC_GPIOD_CLK_ENABLE();

  /*Configure GPIO pin Output Level */
  HAL_GPIO_WritePin(PARK1_GREEN_LED_GPIO_Port, PARK1_GREEN_LED_Pin, GPIO_PIN_RESET);

  /*Configure GPIO pin Output Level */
  HAL_GPIO_WritePin(PARK1_RED_LED_GPIO_Port, PARK1_RED_LED_Pin, GPIO_PIN_RESET);

  /*Configure GPIO pin Output Level */
  HAL_GPIO_WritePin(GPIOC, NCS_MEMS_SPI_Pin|CSX_Pin|PARK2_GREEN_LED_Pin|OTG_FS_PSO_Pin
                          |PARK2_RED_LED_Pin|PARK3_GREEN_LED_Pin|PARK3_RED_LED_Pin, GPIO_PIN_RESET);

  /*Configure GPIO pin Output Level */
  HAL_GPIO_WritePin(ACP_RST_GPIO_Port, ACP_RST_Pin, GPIO_PIN_RESET);

  /*Configure GPIO pin Output Level */
  HAL_GPIO_WritePin(GPIOD, RDX_Pin|WRX_DCX_Pin, GPIO_PIN_RESET);

  /*Configure GPIO pin Output Level */
  HAL_GPIO_WritePin(GPIOG, PARK4_GREEN_LED_Pin|PARK4_RED_LED_Pin|LD3_Pin|LD4_Pin, GPIO_PIN_RESET);

  /*Configure GPIO pins : PARK1_SENSOR_Pin PARK2_SENSOR_Pin PARK3_SENSOR_Pin PARK4_SENSOR_Pin */
  GPIO_InitStruct.Pin = PARK1_SENSOR_Pin|PARK2_SENSOR_Pin|PARK3_SENSOR_Pin|PARK4_SENSOR_Pin;
  GPIO_InitStruct.Mode = GPIO_MODE_INPUT;
  GPIO_InitStruct.Pull = GPIO_NOPULL;
  HAL_GPIO_Init(GPIOE, &GPIO_InitStruct);

  /*Configure GPIO pin : PARK1_GREEN_LED_Pin */
  GPIO_InitStruct.Pin = PARK1_GREEN_LED_Pin;
  GPIO_InitStruct.Mode = GPIO_MODE_OUTPUT_PP;
  GPIO_InitStruct.Pull = GPIO_NOPULL;
  GPIO_InitStruct.Speed = GPIO_SPEED_FREQ_LOW;
  HAL_GPIO_Init(PARK1_GREEN_LED_GPIO_Port, &GPIO_InitStruct);

  /*Configure GPIO pins : A0_Pin A1_Pin A2_Pin A3_Pin
                           A4_Pin A5_Pin SDNRAS_Pin A6_Pin
                           A7_Pin A8_Pin A9_Pin */
  GPIO_InitStruct.Pin = A0_Pin|A1_Pin|A2_Pin|A3_Pin
                          |A4_Pin|A5_Pin|SDNRAS_Pin|A6_Pin
                          |A7_Pin|A8_Pin|A9_Pin;
  GPIO_InitStruct.Mode = GPIO_MODE_AF_PP;
  GPIO_InitStruct.Pull = GPIO_NOPULL;
  GPIO_InitStruct.Speed = GPIO_SPEED_FREQ_VERY_HIGH;
  GPIO_InitStruct.Alternate = GPIO_AF12_FMC;
  HAL_GPIO_Init(GPIOF, &GPIO_InitStruct);

  /*Configure GPIO pin : PARK1_RED_LED_Pin */
  GPIO_InitStruct.Pin = PARK1_RED_LED_Pin;
  GPIO_InitStruct.Mode = GPIO_MODE_OUTPUT_PP;
  GPIO_InitStruct.Pull = GPIO_NOPULL;
  GPIO_InitStruct.Speed = GPIO_SPEED_FREQ_LOW;
  HAL_GPIO_Init(PARK1_RED_LED_GPIO_Port, &GPIO_InitStruct);

  /*Configure GPIO pins : SPI5_SCK_Pin SPI5_MISO_Pin SPI5_MOSI_Pin */
  GPIO_InitStruct.Pin = SPI5_SCK_Pin|SPI5_MISO_Pin|SPI5_MOSI_Pin;
  GPIO_InitStruct.Mode = GPIO_MODE_AF_PP;
  GPIO_InitStruct.Pull = GPIO_NOPULL;
  GPIO_InitStruct.Speed = GPIO_SPEED_FREQ_LOW;
  GPIO_InitStruct.Alternate = GPIO_AF5_SPI5;
  HAL_GPIO_Init(GPIOF, &GPIO_InitStruct);

  /*Configure GPIO pin : ENABLE_Pin */
  GPIO_InitStruct.Pin = ENABLE_Pin;
  GPIO_InitStruct.Mode = GPIO_MODE_AF_PP;
  GPIO_InitStruct.Pull = GPIO_NOPULL;
  GPIO_InitStruct.Speed = GPIO_SPEED_FREQ_LOW;
  GPIO_InitStruct.Alternate = GPIO_AF14_LTDC;
  HAL_GPIO_Init(ENABLE_GPIO_Port, &GPIO_InitStruct);

  /*Configure GPIO pin : SDNWE_Pin */
  GPIO_InitStruct.Pin = SDNWE_Pin;
  GPIO_InitStruct.Mode = GPIO_MODE_AF_PP;
  GPIO_InitStruct.Pull = GPIO_NOPULL;
  GPIO_InitStruct.Speed = GPIO_SPEED_FREQ_VERY_HIGH;
  GPIO_InitStruct.Alternate = GPIO_AF12_FMC;
  HAL_GPIO_Init(SDNWE_GPIO_Port, &GPIO_InitStruct);

  /*Configure GPIO pins : NCS_MEMS_SPI_Pin CSX_Pin PARK2_GREEN_LED_Pin OTG_FS_PSO_Pin
                           PARK2_RED_LED_Pin PARK3_GREEN_LED_Pin PARK3_RED_LED_Pin */
  GPIO_InitStruct.Pin = NCS_MEMS_SPI_Pin|CSX_Pin|PARK2_GREEN_LED_Pin|OTG_FS_PSO_Pin
                          |PARK2_RED_LED_Pin|PARK3_GREEN_LED_Pin|PARK3_RED_LED_Pin;
  GPIO_InitStruct.Mode = GPIO_MODE_OUTPUT_PP;
  GPIO_InitStruct.Pull = GPIO_NOPULL;
  GPIO_InitStruct.Speed = GPIO_SPEED_FREQ_LOW;
  HAL_GPIO_Init(GPIOC, &GPIO_InitStruct);

  /*Configure GPIO pins : B1_Pin MEMS_INT1_Pin MEMS_INT2_Pin TP_INT1_Pin */
  GPIO_InitStruct.Pin = B1_Pin|MEMS_INT1_Pin|MEMS_INT2_Pin|TP_INT1_Pin;
  GPIO_InitStruct.Mode = GPIO_MODE_EVT_RISING;
  GPIO_InitStruct.Pull = GPIO_NOPULL;
  HAL_GPIO_Init(GPIOA, &GPIO_InitStruct);

  /*Configure GPIO pins : B5_Pin VSYNC_Pin G2_Pin R4_Pin
                           R5_Pin */
  GPIO_InitStruct.Pin = B5_Pin|VSYNC_Pin|G2_Pin|R4_Pin
                          |R5_Pin;
  GPIO_InitStruct.Mode = GPIO_MODE_AF_PP;
  GPIO_InitStruct.Pull = GPIO_NOPULL;
  GPIO_InitStruct.Speed = GPIO_SPEED_FREQ_LOW;
  GPIO_InitStruct.Alternate = GPIO_AF14_LTDC;
  HAL_GPIO_Init(GPIOA, &GPIO_InitStruct);

  /*Configure GPIO pin : ACP_RST_Pin */
  GPIO_InitStruct.Pin = ACP_RST_Pin;
  GPIO_InitStruct.Mode = GPIO_MODE_OUTPUT_PP;
  GPIO_InitStruct.Pull = GPIO_NOPULL;
  GPIO_InitStruct.Speed = GPIO_SPEED_FREQ_LOW;
  HAL_GPIO_Init(ACP_RST_GPIO_Port, &GPIO_InitStruct);

  /*Configure GPIO pin : OTG_FS_OC_Pin */
  GPIO_InitStruct.Pin = OTG_FS_OC_Pin;
  GPIO_InitStruct.Mode = GPIO_MODE_EVT_RISING;
  GPIO_InitStruct.Pull = GPIO_NOPULL;
  HAL_GPIO_Init(OTG_FS_OC_GPIO_Port, &GPIO_InitStruct);

  /*Configure GPIO pins : R3_Pin R6_Pin */
  GPIO_InitStruct.Pin = R3_Pin|R6_Pin;
  GPIO_InitStruct.Mode = GPIO_MODE_AF_PP;
  GPIO_InitStruct.Pull = GPIO_NOPULL;
  GPIO_InitStruct.Speed = GPIO_SPEED_FREQ_LOW;
  GPIO_InitStruct.Alternate = GPIO_AF9_LTDC;
  HAL_GPIO_Init(GPIOB, &GPIO_InitStruct);

  /*Configure GPIO pin : BOOT1_Pin */
  GPIO_InitStruct.Pin = BOOT1_Pin;
  GPIO_InitStruct.Mode = GPIO_MODE_INPUT;
  GPIO_InitStruct.Pull = GPIO_NOPULL;
  HAL_GPIO_Init(BOOT1_GPIO_Port, &GPIO_InitStruct);

  /*Configure GPIO pins : A10_Pin A11_Pin BA0_Pin BA1_Pin
                           SDCLK_Pin SDNCAS_Pin */
  GPIO_InitStruct.Pin = A10_Pin|A11_Pin|BA0_Pin|BA1_Pin
                          |SDCLK_Pin|SDNCAS_Pin;
  GPIO_InitStruct.Mode = GPIO_MODE_AF_PP;
  GPIO_InitStruct.Pull = GPIO_NOPULL;
  GPIO_InitStruct.Speed = GPIO_SPEED_FREQ_VERY_HIGH;
  GPIO_InitStruct.Alternate = GPIO_AF12_FMC;
  HAL_GPIO_Init(GPIOG, &GPIO_InitStruct);

  /* SDRAM D4, D5, D8, D9: never use as gate sensors. */
  GPIO_InitStruct.Pin = GPIO_PIN_7|GPIO_PIN_8|GPIO_PIN_11|GPIO_PIN_12;
  GPIO_InitStruct.Mode = GPIO_MODE_AF_PP;
  GPIO_InitStruct.Pull = GPIO_NOPULL;
  GPIO_InitStruct.Speed = GPIO_SPEED_FREQ_VERY_HIGH;
  GPIO_InitStruct.Alternate = GPIO_AF12_FMC;
  HAL_GPIO_Init(GPIOE, &GPIO_InitStruct);

  /*Configure GPIO pins : D6_Pin D7_Pin D10_Pin D11_Pin
                           D12_Pin NBL0_Pin NBL1_Pin */
  GPIO_InitStruct.Pin = D6_Pin|D7_Pin|D10_Pin|D11_Pin
                          |D12_Pin|NBL0_Pin|NBL1_Pin;
  GPIO_InitStruct.Mode = GPIO_MODE_AF_PP;
  GPIO_InitStruct.Pull = GPIO_NOPULL;
  GPIO_InitStruct.Speed = GPIO_SPEED_FREQ_VERY_HIGH;
  GPIO_InitStruct.Alternate = GPIO_AF12_FMC;
  HAL_GPIO_Init(GPIOE, &GPIO_InitStruct);

  /*Configure GPIO pins : G4_Pin G5_Pin B6_Pin B7_Pin */
  GPIO_InitStruct.Pin = G4_Pin|G5_Pin|B6_Pin|B7_Pin;
  GPIO_InitStruct.Mode = GPIO_MODE_AF_PP;
  GPIO_InitStruct.Pull = GPIO_NOPULL;
  GPIO_InitStruct.Speed = GPIO_SPEED_FREQ_LOW;
  GPIO_InitStruct.Alternate = GPIO_AF14_LTDC;
  HAL_GPIO_Init(GPIOB, &GPIO_InitStruct);

  /*Configure GPIO pins : OTG_HS_ID_Pin OTG_HS_DM_Pin OTG_HS_DP_Pin */
  GPIO_InitStruct.Pin = OTG_HS_ID_Pin|OTG_HS_DM_Pin|OTG_HS_DP_Pin;
  GPIO_InitStruct.Mode = GPIO_MODE_AF_PP;
  GPIO_InitStruct.Pull = GPIO_NOPULL;
  GPIO_InitStruct.Speed = GPIO_SPEED_FREQ_LOW;
  GPIO_InitStruct.Alternate = GPIO_AF12_OTG_HS_FS;
  HAL_GPIO_Init(GPIOB, &GPIO_InitStruct);

  /*Configure GPIO pin : VBUS_HS_Pin */
  GPIO_InitStruct.Pin = VBUS_HS_Pin;
  GPIO_InitStruct.Mode = GPIO_MODE_INPUT;
  GPIO_InitStruct.Pull = GPIO_NOPULL;
  HAL_GPIO_Init(VBUS_HS_GPIO_Port, &GPIO_InitStruct);

  /*Configure GPIO pins : D13_Pin D14_Pin D15_Pin D0_Pin
                           D1_Pin D2_Pin D3_Pin */
  GPIO_InitStruct.Pin = D13_Pin|D14_Pin|D15_Pin|D0_Pin
                          |D1_Pin|D2_Pin|D3_Pin;
  GPIO_InitStruct.Mode = GPIO_MODE_AF_PP;
  GPIO_InitStruct.Pull = GPIO_NOPULL;
  GPIO_InitStruct.Speed = GPIO_SPEED_FREQ_VERY_HIGH;
  GPIO_InitStruct.Alternate = GPIO_AF12_FMC;
  HAL_GPIO_Init(GPIOD, &GPIO_InitStruct);

  /*Configure GPIO pins : TE_Pin EXIT_SENSORD5_Pin */
  GPIO_InitStruct.Pin = TE_Pin|EXIT_SENSORD5_Pin;
  GPIO_InitStruct.Mode = GPIO_MODE_INPUT;
  GPIO_InitStruct.Pull = GPIO_NOPULL;
  HAL_GPIO_Init(GPIOD, &GPIO_InitStruct);

  /*Configure GPIO pins : RDX_Pin WRX_DCX_Pin */
  GPIO_InitStruct.Pin = RDX_Pin|WRX_DCX_Pin;
  GPIO_InitStruct.Mode = GPIO_MODE_OUTPUT_PP;
  GPIO_InitStruct.Pull = GPIO_NOPULL;
  GPIO_InitStruct.Speed = GPIO_SPEED_FREQ_LOW;
  HAL_GPIO_Init(GPIOD, &GPIO_InitStruct);

  /*Configure GPIO pins : PARK4_GREEN_LED_Pin PARK4_RED_LED_Pin LD3_Pin LD4_Pin */
  GPIO_InitStruct.Pin = PARK4_GREEN_LED_Pin|PARK4_RED_LED_Pin|LD3_Pin|LD4_Pin;
  GPIO_InitStruct.Mode = GPIO_MODE_OUTPUT_PP;
  GPIO_InitStruct.Pull = GPIO_NOPULL;
  GPIO_InitStruct.Speed = GPIO_SPEED_FREQ_LOW;
  HAL_GPIO_Init(GPIOG, &GPIO_InitStruct);

  /*Configure GPIO pins : R7_Pin DOTCLK_Pin B3_Pin */
  GPIO_InitStruct.Pin = R7_Pin|DOTCLK_Pin|B3_Pin;
  GPIO_InitStruct.Mode = GPIO_MODE_AF_PP;
  GPIO_InitStruct.Pull = GPIO_NOPULL;
  GPIO_InitStruct.Speed = GPIO_SPEED_FREQ_LOW;
  GPIO_InitStruct.Alternate = GPIO_AF14_LTDC;
  HAL_GPIO_Init(GPIOG, &GPIO_InitStruct);

  /*Configure GPIO pins : HSYNC_Pin G6_Pin R2_Pin */
  GPIO_InitStruct.Pin = HSYNC_Pin|G6_Pin|R2_Pin;
  GPIO_InitStruct.Mode = GPIO_MODE_AF_PP;
  GPIO_InitStruct.Pull = GPIO_NOPULL;
  GPIO_InitStruct.Speed = GPIO_SPEED_FREQ_LOW;
  GPIO_InitStruct.Alternate = GPIO_AF14_LTDC;
  HAL_GPIO_Init(GPIOC, &GPIO_InitStruct);

  /*Configure GPIO pin : I2C3_SDA_Pin */
  GPIO_InitStruct.Pin = I2C3_SDA_Pin;
  GPIO_InitStruct.Mode = GPIO_MODE_AF_OD;
  GPIO_InitStruct.Pull = GPIO_NOPULL;
  GPIO_InitStruct.Speed = GPIO_SPEED_FREQ_LOW;
  GPIO_InitStruct.Alternate = GPIO_AF4_I2C3;
  HAL_GPIO_Init(I2C3_SDA_GPIO_Port, &GPIO_InitStruct);

  /*Configure GPIO pin : I2C3_SCL_Pin */
  GPIO_InitStruct.Pin = I2C3_SCL_Pin;
  GPIO_InitStruct.Mode = GPIO_MODE_AF_OD;
  GPIO_InitStruct.Pull = GPIO_NOPULL;
  GPIO_InitStruct.Speed = GPIO_SPEED_FREQ_LOW;
  GPIO_InitStruct.Alternate = GPIO_AF4_I2C3;
  HAL_GPIO_Init(I2C3_SCL_GPIO_Port, &GPIO_InitStruct);

  /*Configure GPIO pins : G7_Pin B2_Pin */
  GPIO_InitStruct.Pin = G7_Pin|B2_Pin;
  GPIO_InitStruct.Mode = GPIO_MODE_AF_PP;
  GPIO_InitStruct.Pull = GPIO_NOPULL;
  GPIO_InitStruct.Speed = GPIO_SPEED_FREQ_LOW;
  GPIO_InitStruct.Alternate = GPIO_AF14_LTDC;
  HAL_GPIO_Init(GPIOD, &GPIO_InitStruct);

  /*Configure GPIO pin : ENTRY_SENSOR_Pin */
  GPIO_InitStruct.Pin = ENTRY_SENSOR_Pin;
  GPIO_InitStruct.Mode = GPIO_MODE_INPUT;
  GPIO_InitStruct.Pull = GPIO_NOPULL;
  HAL_GPIO_Init(ENTRY_SENSOR_GPIO_Port, &GPIO_InitStruct);

  /*Configure GPIO pins : G3_Pin B4_Pin */
  GPIO_InitStruct.Pin = G3_Pin|B4_Pin;
  GPIO_InitStruct.Mode = GPIO_MODE_AF_PP;
  GPIO_InitStruct.Pull = GPIO_NOPULL;
  GPIO_InitStruct.Speed = GPIO_SPEED_FREQ_LOW;
  GPIO_InitStruct.Alternate = GPIO_AF9_LTDC;
  HAL_GPIO_Init(GPIOG, &GPIO_InitStruct);

  /*Configure GPIO pins : SDCKE1_Pin SDNE1_Pin */
  GPIO_InitStruct.Pin = SDCKE1_Pin|SDNE1_Pin;
  GPIO_InitStruct.Mode = GPIO_MODE_AF_PP;
  GPIO_InitStruct.Pull = GPIO_NOPULL;
  GPIO_InitStruct.Speed = GPIO_SPEED_FREQ_VERY_HIGH;
  GPIO_InitStruct.Alternate = GPIO_AF12_FMC;
  HAL_GPIO_Init(GPIOB, &GPIO_InitStruct);

}

void Error_Handler(void)
{
  __disable_irq();
  while (1)
  {
  }
}
